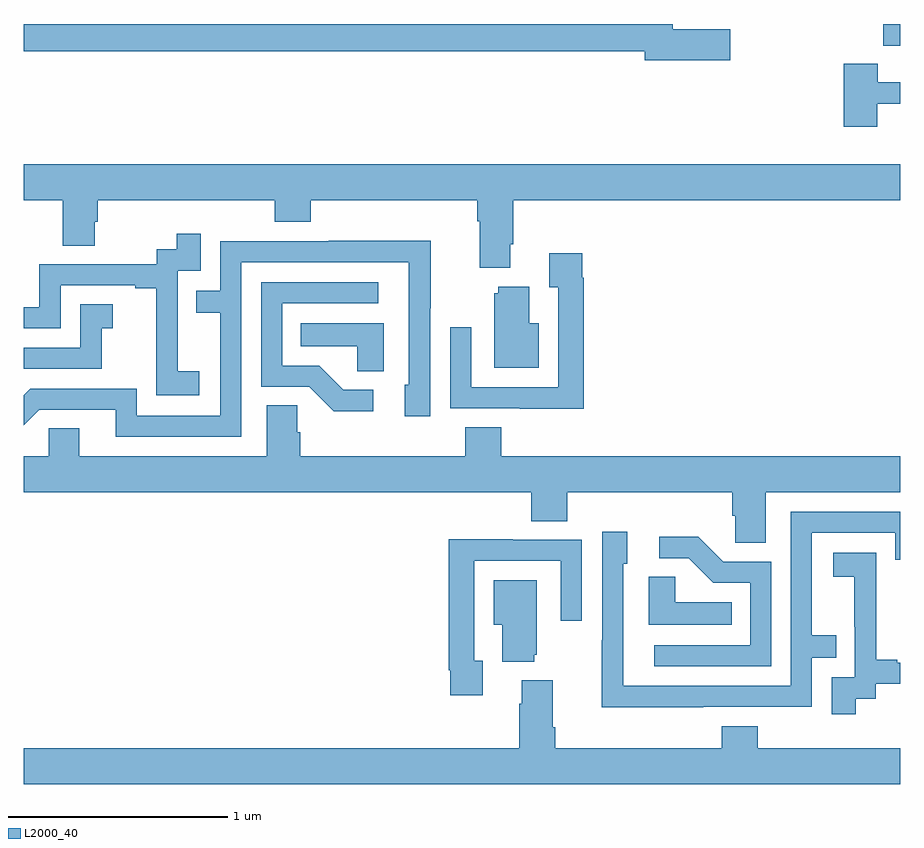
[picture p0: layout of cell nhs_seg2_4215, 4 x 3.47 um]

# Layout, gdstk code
import gdstk
lib = gdstk.Library(unit=1e-6, precision=1e-09)
def R(c, l, rs):  # rectangles x0, y0, x1, y1
    for r in rs: c.add(gdstk.rectangle(r[:2], r[2:], *l))
def P(c, l, *ps):  # polygons
    for p in ps: c.add(gdstk.Polygon(p, *l))
L2000_40 = (2000, 40)

nhs_seg2_4215 = lib.new_cell('nhs_seg2_4215')
R(nhs_seg2_4215, L2000_40, [(342.922,621.701,343,621.8)])
P(nhs_seg2_4215, L2000_40, [(342.223,621.776),(341.962,621.776),(341.962,621.8),(339,621.8),(339,621.676),(341.834,621.676),(341.834,621.634),(342.223,621.634)],
  [(342.895,621.435),(343,621.435),(343,621.535),(342.898,621.535),(342.898,621.619),(342.743,621.619),(342.743,621.33),(342.895,621.33)],
  [(341.221,620.794),(341.234,620.794),(341.234,620.996),(343,620.996),(343,621.16),(339,621.16),(339,620.996),(339.178,620.996),(339.178,620.788),(339.325,620.788),(339.325,620.898),(339.338,620.898),(339.338,620.996),(340.145,620.996),(340.145,620.897),(340.31,620.897),(340.31,620.996),(341.069,620.996),(341.069,620.9),(341.081,620.9),(341.081,620.687),(341.221,620.687)],
  [(339.802,620.215),(339.704,620.215),(339.704,620.444),(339.702,620.444),(339.702,620.673),(339.807,620.673),(339.807,620.842),(339.699,620.842),(339.699,620.772),(339.606,620.772),(339.606,620.703),(339.072,620.703),(339.072,620.508),(339,620.508),(339,620.412),(339.168,620.412),(339.168,620.607),(339.509,620.607),(339.509,620.595),(339.605,620.595),(339.605,620.311),(339.604,620.311),(339.604,620.105),(339.802,620.105)],
  [(339.993,620.712),(340.758,620.712),(340.758,620.154),(340.739,620.154),(340.739,620.01),(340.854,620.01),(340.854,620.503),(340.857,620.503),(340.857,620.81),(340.393,620.81),(340.393,620.808),(339.897,620.808),(339.897,620.583),(339.787,620.583),(339.787,620.482),(339.897,620.482),(339.897,620.013),(339.516,620.013),(339.516,620.136),(339.03,620.136),(339,620.106),(339,619.968),(339.072,620.04),(339.419,620.04),(339.419,619.917),(339.993,619.917)],
  [(341.555,620.642),(341.548,620.642),(341.548,620.755),(341.399,620.755),(341.399,620.599),(341.439,620.599),(341.439,620.142),(341.043,620.142),(341.043,620.416),(340.947,620.416),(340.947,620.046),(341.263,620.046),(341.263,620.045),(341.555,620.045)],
  [(340.594,620.13),(340.459,620.13),(340.348,620.241),(340.179,620.241),(340.179,620.526),(340.618,620.526),(340.618,620.622),(340.083,620.622),(340.083,620.145),(340.302,620.145),(340.415,620.033),(340.594,620.033)],
  [(341.35,620.434),(341.308,620.434),(341.308,620.602),(341.165,620.602),(341.165,620.571),(341.147,620.571),(341.147,620.231),(341.35,620.231)],
  [(339.357,620.411),(339.406,620.411),(339.406,620.521),(339.258,620.521),(339.258,620.322),(339,620.322),(339,620.226),(339.357,620.226)],
  [(340.642,620.434),(340.264,620.434),(340.264,620.33),(340.521,620.33),(340.521,620.215),(340.642,620.215)],
  [(342.385,619.664),(343,619.664),(343,619.828),(341.18,619.828),(341.18,619.961),(341.015,619.961),(341.015,619.828),(340.262,619.828),(340.262,619.937),(340.248,619.937),(340.248,620.06),(340.109,620.06),(340.109,619.828),(339.253,619.828),(339.253,619.955),(339.114,619.955),(339.114,619.828),(339,619.828),(339,619.664),(341.315,619.664),(341.315,619.531),(341.48,619.531),(341.48,619.664),(342.233,619.664),(342.233,619.555),(342.246,619.555),(342.246,619.432),(342.385,619.432)],
  [(342.101,618.684),(342.597,618.684),(342.597,618.909),(342.707,618.909),(342.707,619.01),(342.597,619.01),(342.597,619.479),(342.978,619.479),(342.978,619.356),(343,619.356),(343,619.575),(342.501,619.575),(342.501,618.78),(341.736,618.78),(341.736,619.338),(341.755,619.338),(341.755,619.483),(341.64,619.483),(341.64,618.989),(341.638,618.989),(341.638,618.683),(342.101,618.683)],
  [(342.411,619.347),(342.192,619.347),(342.079,619.46),(341.901,619.46),(341.901,619.362),(342.035,619.362),(342.146,619.251),(342.315,619.251),(342.315,618.966),(341.877,618.966),(341.877,618.87),(342.411,618.87)],
  [(341.095,618.894),(341.055,618.894),(341.055,619.35),(341.451,619.35),(341.451,619.077),(341.547,619.077),(341.547,619.446),(341.231,619.446),(341.231,619.448),(340.939,619.448),(340.939,618.85),(340.947,618.85),(340.947,618.738),(341.095,618.738)],
  [(342.796,618.721),(342.888,618.721),(342.888,618.789),(343,618.789),(343,618.885),(342.985,618.885),(342.985,618.898),(342.89,618.898),(342.89,619.181),(342.891,619.181),(342.891,619.387),(342.693,619.387),(342.693,619.277),(342.791,619.277),(342.791,619.049),(342.792,619.049),(342.792,618.819),(342.687,618.819),(342.687,618.651),(342.796,618.651)],
  [(342.23,619.162),(341.973,619.162),(341.973,619.277),(341.852,619.277),(341.852,619.058),(342.23,619.058)],
  [(341.33,618.921),(341.341,618.921),(341.341,619.261),(341.144,619.261),(341.144,619.058),(341.183,619.058),(341.183,618.89),(341.33,618.89)],
  [(343,618.496),(342.35,618.496),(342.35,618.595),(342.185,618.595),(342.185,618.496),(341.426,618.496),(341.426,618.592),(341.413,618.592),(341.413,618.805),(341.273,618.805),(341.273,618.698),(341.261,618.698),(341.261,618.496),(339,618.496),(339,618.332),(343,618.332)])

lib.write_gds('nhs_seg2_4215.gds')
